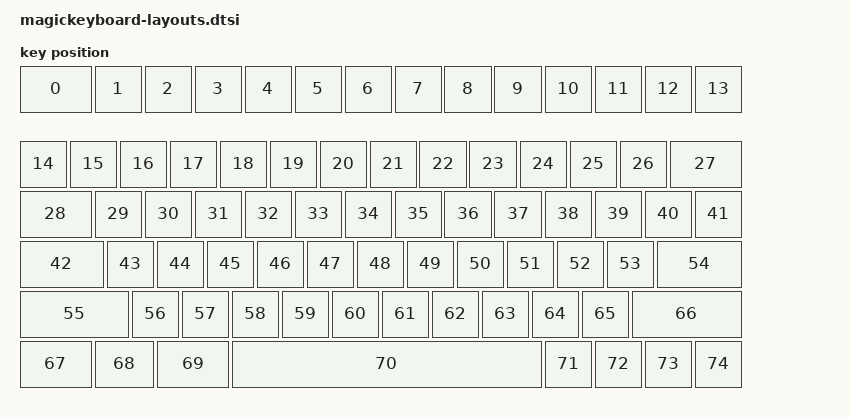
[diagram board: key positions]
#include <physical_layouts.dtsi>

/ {
    physical_layout_magickeyboard: physical_layout_magickeyboard {
        compatible = "zmk,physical-layout";
        display-name = "magicKeyboard";
        keys  //                     w   h    x    y     rot    rx    ry
            = <&key_physical_attrs 150 100    0    0       0     0     0>
            , <&key_physical_attrs 100 100  150    0       0     0     0>
            , <&key_physical_attrs 100 100  250    0       0     0     0>
            , <&key_physical_attrs 100 100  350    0       0     0     0>
            , <&key_physical_attrs 100 100  450    0       0     0     0>
            , <&key_physical_attrs 100 100  550    0       0     0     0>
            , <&key_physical_attrs 100 100  650    0       0     0     0>
            , <&key_physical_attrs 100 100  750    0       0     0     0>
            , <&key_physical_attrs 100 100  850    0       0     0     0>
            , <&key_physical_attrs 100 100  950    0       0     0     0>
            , <&key_physical_attrs 100 100 1050    0       0     0     0>
            , <&key_physical_attrs 100 100 1150    0       0     0     0>
            , <&key_physical_attrs 100 100 1250    0       0     0     0>
            , <&key_physical_attrs 100 100 1350    0       0     0     0>
            , <&key_physical_attrs 100 100    0  150       0     0     0>
            , <&key_physical_attrs 100 100  100  150       0     0     0>
            , <&key_physical_attrs 100 100  200  150       0     0     0>
            , <&key_physical_attrs 100 100  300  150       0     0     0>
            , <&key_physical_attrs 100 100  400  150       0     0     0>
            , <&key_physical_attrs 100 100  500  150       0     0     0>
            , <&key_physical_attrs 100 100  600  150       0     0     0>
            , <&key_physical_attrs 100 100  700  150       0     0     0>
            , <&key_physical_attrs 100 100  800  150       0     0     0>
            , <&key_physical_attrs 100 100  900  150       0     0     0>
            , <&key_physical_attrs 100 100 1000  150       0     0     0>
            , <&key_physical_attrs 100 100 1100  150       0     0     0>
            , <&key_physical_attrs 100 100 1200  150       0     0     0>
            , <&key_physical_attrs 150 100 1300  150       0     0     0>
            , <&key_physical_attrs 150 100    0  250       0     0     0>
            , <&key_physical_attrs 100 100  150  250       0     0     0>
            , <&key_physical_attrs 100 100  250  250       0     0     0>
            , <&key_physical_attrs 100 100  350  250       0     0     0>
            , <&key_physical_attrs 100 100  450  250       0     0     0>
            , <&key_physical_attrs 100 100  550  250       0     0     0>
            , <&key_physical_attrs 100 100  650  250       0     0     0>
            , <&key_physical_attrs 100 100  750  250       0     0     0>
            , <&key_physical_attrs 100 100  850  250       0     0     0>
            , <&key_physical_attrs 100 100  950  250       0     0     0>
            , <&key_physical_attrs 100 100 1050  250       0     0     0>
            , <&key_physical_attrs 100 100 1150  250       0     0     0>
            , <&key_physical_attrs 100 100 1250  250       0     0     0>
            , <&key_physical_attrs 100 100 1350  250       0     0     0>
            , <&key_physical_attrs 175 100    0  350       0     0     0>
            , <&key_physical_attrs 100 100  175  350       0     0     0>
            , <&key_physical_attrs 100 100  275  350       0     0     0>
            , <&key_physical_attrs 100 100  375  350       0     0     0>
            , <&key_physical_attrs 100 100  475  350       0     0     0>
            , <&key_physical_attrs 100 100  575  350       0     0     0>
            , <&key_physical_attrs 100 100  675  350       0     0     0>
            , <&key_physical_attrs 100 100  775  350       0     0     0>
            , <&key_physical_attrs 100 100  875  350       0     0     0>
            , <&key_physical_attrs 100 100  975  350       0     0     0>
            , <&key_physical_attrs 100 100 1075  350       0     0     0>
            , <&key_physical_attrs 100 100 1175  350       0     0     0>
            , <&key_physical_attrs 175 100 1275  350       0     0     0>
            , <&key_physical_attrs 225 100    0  450       0     0     0>
            , <&key_physical_attrs 100 100  225  450       0     0     0>
            , <&key_physical_attrs 100 100  325  450       0     0     0>
            , <&key_physical_attrs 100 100  425  450       0     0     0>
            , <&key_physical_attrs 100 100  525  450       0     0     0>
            , <&key_physical_attrs 100 100  625  450       0     0     0>
            , <&key_physical_attrs 100 100  725  450       0     0     0>
            , <&key_physical_attrs 100 100  825  450       0     0     0>
            , <&key_physical_attrs 100 100  925  450       0     0     0>
            , <&key_physical_attrs 100 100 1025  450       0     0     0>
            , <&key_physical_attrs 100 100 1125  450       0     0     0>
            , <&key_physical_attrs 225 100 1225  450       0     0     0>
            , <&key_physical_attrs 150 100    0  550       0     0     0>
            , <&key_physical_attrs 125 100  150  550       0     0     0>
            , <&key_physical_attrs 150 100  275  550       0     0     0>
            , <&key_physical_attrs 625 100  425  550       0     0     0>
            , <&key_physical_attrs 100 100 1050  550       0     0     0>
            , <&key_physical_attrs 100 100 1150  550       0     0     0>
            , <&key_physical_attrs 100 100 1250  550       0     0     0>
            , <&key_physical_attrs 100 100 1350  550       0     0     0>
            ;
    };
};
